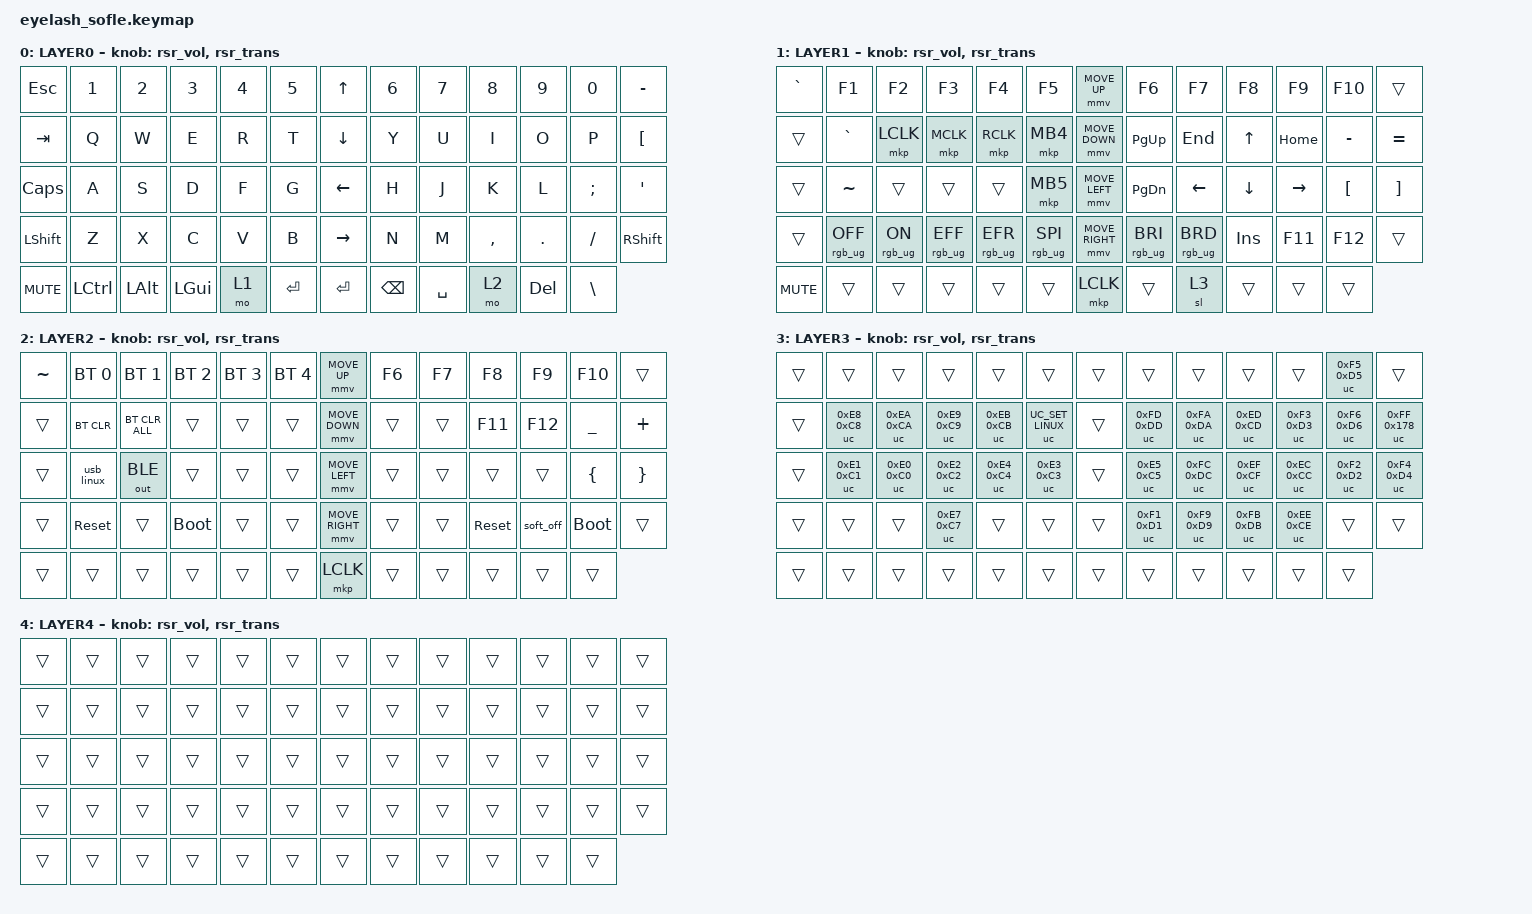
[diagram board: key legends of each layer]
#define ZMK_POINTING_DEFAULT_MOVE_VAL 1200  // 600
#define ZMK_POINTING_DEFAULT_SCRL_VAL 25   // 10

#include <input/processors.dtsi>
#include <zephyr/dt-bindings/input/input-event-codes.h>
#include <behaviors.dtsi>
#include <behaviors/runtime-sensor-rotate.dtsi>
#include <behaviors/unicode.dtsi>
#include <dt-bindings/zmk/bt.h>
#include <dt-bindings/zmk/keys.h>
#include <dt-bindings/zmk/outputs.h>
#include <dt-bindings/zmk/pointing.h>
#include <dt-bindings/zmk/rgb.h>

&mmv_input_listener { input-processors = <&zip_xy_scaler 2 1>; };

&msc_input_listener { input-processors = <&zip_scroll_scaler 2 1>; };

&msc {
    acceleration-exponent = <1>;      // 0
    time-to-max-speed-ms = <100>;       // 300
    delay-ms = <0>;                   // 0
};

&mmv {
    time-to-max-speed-ms = <500>;
    acceleration-exponent = <1>;
    trigger-period-ms = <16>;
};

&soft_off { hold-time-ms = <2000>; };

&uc {
    default-mode = <UC_MODE_LINUX>;
    minimum-length = <4>;
};

/ {
    scroll_encoder: scroll_encoder {
        compatible = "zmk,behavior-sensor-rotate";
        #sensor-binding-cells = <0>;
        bindings = <&msc SCRL_DOWN>, <&msc SCRL_UP>;

        tap-ms = <100>;
    };

    behaviors {
        rsr_vol: rsr_vol {
            compatible = "zmk,behavior-runtime-sensor-rotate";
            #sensor-binding-cells = <0>;
            tap-ms = <5>;
            cw-binding = <&kp C_VOL_UP>;
            ccw-binding = <&kp C_VOL_DN>;
        };

        rsr_trans: rsr_trans {
            compatible = "zmk,behavior-runtime-sensor-rotate";
            #sensor-binding-cells = <0>;
            tap-ms = <0>;
        };
    };

    combos {
        compatible = "zmk,combos";

        softoff {
            bindings = <&soft_off>;
            key-positions = <14 28 40>;
        };
    };

    macros {
        SHIFT_MCLK: SHIFT_MCLK {
            compatible = "zmk,behavior-macro";
            #binding-cells = <0>;
            bindings =
                <&macro_press>,
                <&kp LEFT_SHIFT>,
                <&macro_press>,
                <&mkp MB3>,
                <&macro_pause_for_release>,
                <&macro_release>,
                <&kp LEFT_SHIFT &mkp MB3>;

            label = "SHIFT_MCLK";
        };

        acute_dead: acute_dead {
            compatible = "zmk,behavior-macro";
            #binding-cells = <0>;
            wait-ms = <30>;
            tap-ms = <30>;
            bindings = <&kp K_APPLICATION &kp APOS>;

            label = "ACUTE_DEAD";
        };

        usb_linux: usb_linux {
            compatible = "zmk,behavior-macro";
            #binding-cells = <0>;
            bindings = <&out OUT_USB &uc UC_SET_LINUX>;

            label = "USB_LINUX";
        };
    };

    keymap {
        compatible = "zmk,keymap";

        layer0 {
            bindings = <
&kp ESC     &kp N1     &kp N2        &kp N3        &kp N4  &kp N5       &kp UP_ARROW     &kp N6         &kp N7     &kp N8     &kp N9           &kp N0      &kp MINUS
&kp TAB     &kp Q      &kp W         &kp E         &kp R   &kp T        &kp DOWN_ARROW   &kp Y          &kp U      &kp I      &kp O            &kp P       &kp LEFT_BRACKET
&kp CAPS    &kp A      &kp S         &kp D         &kp F   &kp G        &kp LEFT_ARROW   &kp H          &kp J      &kp K      &kp L            &kp SEMI    &kp APOS
&kp LSHFT   &kp Z      &kp X         &kp C         &kp V   &kp B        &kp RIGHT_ARROW  &kp N          &kp M      &kp COMMA  &kp DOT          &kp FSLH    &kp RIGHT_SHIFT
&kp C_MUTE  &kp LCTRL  &kp LEFT_ALT  &kp LEFT_GUI  &mo 1   &kp ENTER    &kp ENTER        &kp BACKSPACE  &kp SPACE  &mo 2      &kp DELETE       &kp BSLH
            >;

            sensor-bindings = <&rsr_vol &rsr_trans>;
            display-name = "LAYER0";
        };

        layer_1 {
            bindings = <
&kp GRAVE   &kp F1           &kp F2          &kp F3           &kp F4           &kp F5             &mmv MOVE_UP     &kp F6           &kp F7           &kp F8      &kp F9     &kp F10           &trans
&trans      &kp GRAVE        &mkp LCLK       &mkp MCLK        &mkp RCLK        &mkp MB4           &mmv MOVE_DOWN   &kp PG_UP        &kp END          &kp UP      &kp HOME   &kp MINUS         &kp EQUAL
&trans      &kp TILDE        &trans          &trans           &trans           &mkp MB5           &mmv MOVE_LEFT   &kp PG_DN        &kp LEFT         &kp DOWN    &kp RIGHT  &kp LEFT_BRACKET  &kp RIGHT_BRACKET
&trans      &rgb_ug RGB_OFF  &rgb_ug RGB_ON  &rgb_ug RGB_EFF  &rgb_ug RGB_EFR  &rgb_ug RGB_SPI    &mmv MOVE_RIGHT  &rgb_ug RGB_BRI  &rgb_ug RGB_BRD  &kp INSERT  &kp F11    &kp F12           &trans
&kp C_MUTE  &trans           &trans          &trans           &trans           &trans             &mkp LCLK        &trans           &sl 3            &trans      &trans     &trans
            >;

            sensor-bindings = <&rsr_vol &rsr_trans>;
            display-name = "LAYER1";
        };

        layer_2 {
            bindings = <
&kp TILDE  &bt BT_SEL 0  &bt BT_SEL 1    &bt BT_SEL 2  &bt BT_SEL 3  &bt BT_SEL 4    &mmv MOVE_UP     &kp F6  &kp F7  &kp F8      &kp F9     &kp F10      &trans
&trans     &bt BT_CLR    &bt BT_CLR_ALL  &trans        &trans        &trans          &mmv MOVE_DOWN   &trans  &trans  &kp F11     &kp F12    &kp UNDER    &kp PLUS
&trans     &usb_linux    &out OUT_BLE    &trans        &trans        &trans          &mmv MOVE_LEFT   &trans  &trans  &trans      &trans     &kp LBRC     &kp RBRC
&trans     &sys_reset    &trans          &bootloader   &trans        &trans          &mmv MOVE_RIGHT  &trans  &trans  &sys_reset  &soft_off  &bootloader  &trans
&trans     &trans        &trans          &trans        &trans        &trans          &mkp LCLK        &trans  &trans  &trans      &trans     &trans
            >;

            display-name = "LAYER2";
            sensor-bindings = <&rsr_vol &rsr_trans>;
        };

        layer_3 {
            bindings = <
&trans            &trans            &trans            &trans            &trans            &trans                &trans            &trans            &trans            &trans            &trans            &uc 0xF5 0xD5     &trans
&trans            &uc 0xE8 0xC8     &uc 0xEA 0xCA     &uc 0xE9 0xC9     &uc 0xEB 0xCB     &uc UC_SET_LINUX      &trans            &uc 0xFD 0xDD     &uc 0xFA 0xDA     &uc 0xED 0xCD     &uc 0xF3 0xD3     &uc 0xF6 0xD6     &uc 0xFF 0x178
&trans            &uc 0xE1 0xC1     &uc 0xE0 0xC0     &uc 0xE2 0xC2     &uc 0xE4 0xC4     &uc 0xE3 0xC3         &trans            &uc 0xE5 0xC5     &uc 0xFC 0xDC     &uc 0xEF 0xCF     &uc 0xEC 0xCC     &uc 0xF2 0xD2     &uc 0xF4 0xD4
&trans            &trans            &trans            &uc 0xE7 0xC7     &trans            &trans                &trans            &uc 0xF1 0xD1     &uc 0xF9 0xD9     &uc 0xFB 0xDB     &uc 0xEE 0xCE     &trans            &trans
&trans            &trans            &trans            &trans            &trans            &trans                &trans            &trans            &trans            &trans            &trans            &trans
            >;

            display-name = "LAYER3";
            sensor-bindings = <&rsr_vol &rsr_trans>;
        };

        layer_4 {
            bindings = <
&trans  &trans  &trans  &trans  &trans  &trans    &trans  &trans  &trans  &trans  &trans  &trans  &trans
&trans  &trans  &trans  &trans  &trans  &trans    &trans  &trans  &trans  &trans  &trans  &trans  &trans
&trans  &trans  &trans  &trans  &trans  &trans    &trans  &trans  &trans  &trans  &trans  &trans  &trans
&trans  &trans  &trans  &trans  &trans  &trans    &trans  &trans  &trans  &trans  &trans  &trans  &trans
&trans  &trans  &trans  &trans  &trans  &trans    &trans  &trans  &trans  &trans  &trans  &trans
            >;

            display-name = "LAYER4";
            sensor-bindings = <&rsr_vol &rsr_trans>;
        };
    };
};
